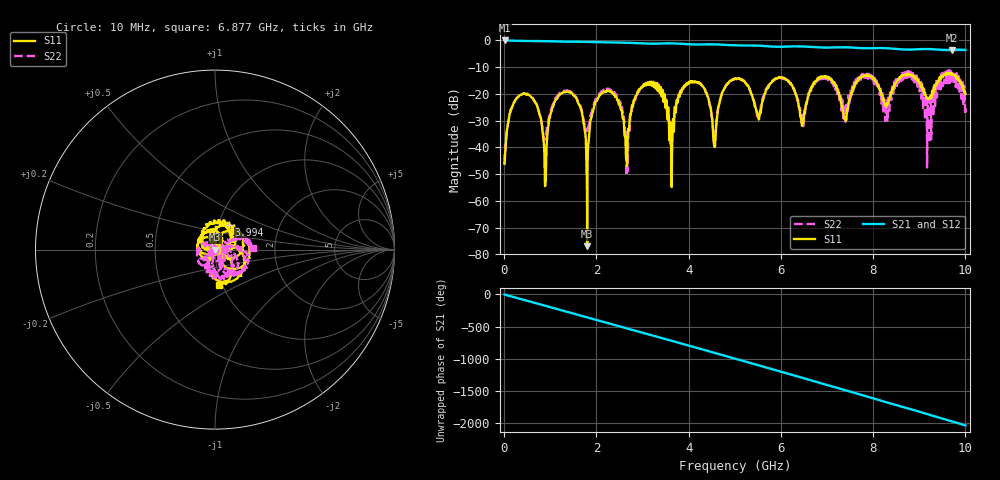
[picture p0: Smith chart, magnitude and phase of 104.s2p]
!Keysight Technologies,E5080B,MY59205177,A.15.75.32
!Date: Friday, February 23, 2024 03:36:05
!Correction: S11(Cdelta 2-Port  )
!S21(Cdelta 2-Port  )
!S12(Cdelta 2-Port  )
!S22(Cdelta 2-Port  )
!S2P File: Measurements: S11, S21, S12, S22:
# Hz S  dB  R 50
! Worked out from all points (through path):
!   10001 points, 10 MHz to 10 GHz, reference 50 ohm
!   highest |S21| = -0.02 dB at 14 MHz (marker M1); lowest = -3.7 dB at 9.701 GHz (marker M2)
!   group delay of S21, straight-line fit = 565 ps
!   lowest |S11| = -76.9 dB at 1.799 GHz (marker M3), VSWR 1.00, Z = 50 - j0.0112 ohm
!   |S11| at or under -10 dB: start of sweep to end of sweep
!   |S22| runs from -50.5 to -11.1 dB; largest |S21 - S12| = 0.0015
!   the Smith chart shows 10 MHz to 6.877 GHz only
!   S11 on the Smith chart (normalised r, x): 10 MHz: 1.01, -0.00; 3.994 GHz: 1.12, +0.32; 6.877 GHz: 0.96, -0.40
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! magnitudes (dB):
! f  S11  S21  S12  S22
! 10 MHz  -46.1  0.0  0.0  -45.9
! 14 MHz  -43.3  0.0  0.0  -45.4
! 374.6 MHz  -20.2  -0.2  -0.2  -20.1
! 888.1 MHz  -53.7  -0.3  -0.3  -36.8
! 1.178 GHz  -20.8  -0.4  -0.4  -20.2
! 1.675 GHz  -26.1  -0.5  -0.5  -25.6
! 1.799 GHz  -76.9  -0.5  -0.5  -33.2
! 2.108 GHz  -19.9  -0.7  -0.7  -19.0
! 2.662 GHz  -46.5  -0.9  -0.9  -43.7
! 2.892 GHz  -19.3  -1.0  -1.0  -20.0
! 3.341 GHz  -17.4  -1.2  -1.2  -17.7
! 3.627 GHz  -47.2  -1.1  -1.1  -42.0
! 3.994 GHz  -15.9  -1.4  -1.4  -15.9
! 4.561 GHz  -39.6  -1.5  -1.5  -38.5
! 5.005 GHz  -14.2  -1.8  -1.8  -14.5
! 6.465 GHz  -31.3  -2.3  -2.3  -27.9
! 6.67 GHz  -17.3  -2.5  -2.5  -17.0
! 6.877 GHz  -14.0  -2.6  -2.6  -13.4
! 7.386 GHz  -29.4  -2.6  -2.6  -26.3
! 8.336 GHz  -22.7  -3.0  -3.0  -20.9
! 9.701 GHz  -12.2  -3.7  -3.7  -13.8
! 10 GHz  -20.0  -3.6  -3.6  -25.4
